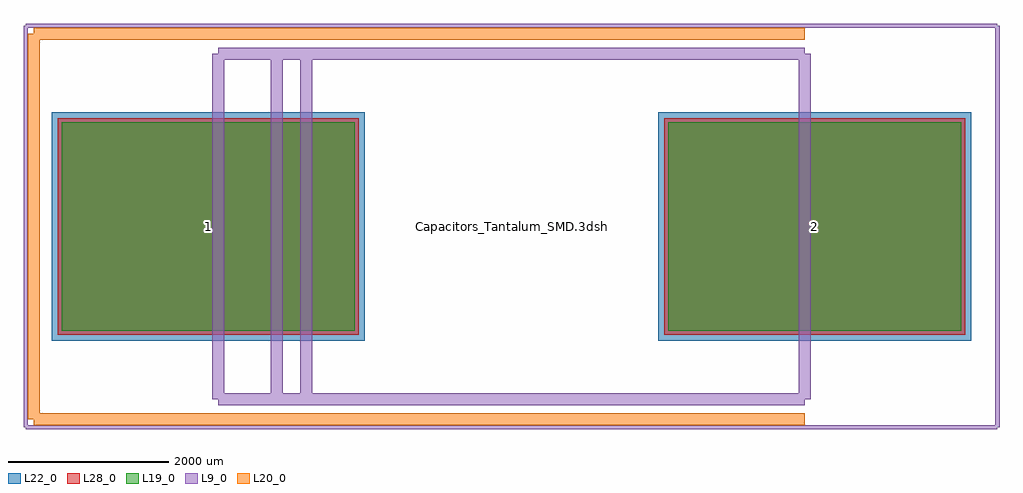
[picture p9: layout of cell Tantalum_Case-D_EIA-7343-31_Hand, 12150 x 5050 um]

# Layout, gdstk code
import gdstk
lib = gdstk.Library(unit=1e-6, precision=1e-09)
def R(c, l, rs):  # rectangles x0, y0, x1, y1
    for r in rs: c.add(gdstk.rectangle(r[:2], r[2:], *l))
L9_0 = (9, 0)
L19_0 = (19, 0)
L20_0 = (20, 0)
L22_0 = (22, 0)
L28_0 = (28, 0)

tantalum_case_d_eia_7343 = lib.new_cell('Tantalum_Case-D_EIA-7343-31_Hand')
R(tantalum_case_d_eia_7343, L19_0, [(-5600,-1300,-1950,1300), (1950,-1300,5600,1300)])
R(tantalum_case_d_eia_7343, L22_0, [(-5725,-1425,-1825,1425), (1825,-1425,5725,1425)])
R(tantalum_case_d_eia_7343, L28_0, [(-5650,-1350,-1900,1350), (1900,-1350,5650,1350)])
tantalum_case_d_eia_7343.add(gdstk.FlexPath([(-5950,2400),(-5950,-2400)], 149.998, ends="flush", simple_path=True, layer=20, datatype=0))  # L20_0
tantalum_case_d_eia_7343.add(gdstk.FlexPath([(-5950,-2400),(3650,-2400)], 149.998, ends="flush", simple_path=True, layer=20, datatype=0))  # L20_0
tantalum_case_d_eia_7343.add(gdstk.FlexPath([(-5950,2400),(3650,2400)], 149.998, ends="flush", simple_path=True, layer=20, datatype=0))  # L20_0
tantalum_case_d_eia_7343.add(gdstk.FlexPath([(-2555,2150),(-2555,-2150)], 149.998, ends="flush", simple_path=True, layer=9, datatype=0))  # L9_0
tantalum_case_d_eia_7343.add(gdstk.FlexPath([(-2920,2150),(-2920,-2150)], 149.998, ends="flush", simple_path=True, layer=9, datatype=0))  # L9_0
tantalum_case_d_eia_7343.add(gdstk.FlexPath([(3650,2150),(-3650,2150)], 149.998, ends="flush", simple_path=True, layer=9, datatype=0))  # L9_0
tantalum_case_d_eia_7343.add(gdstk.FlexPath([(3650,-2150),(3650,2150)], 149.998, ends="flush", simple_path=True, layer=9, datatype=0))  # L9_0
tantalum_case_d_eia_7343.add(gdstk.FlexPath([(-3650,-2150),(3650,-2150)], 149.998, ends="flush", simple_path=True, layer=9, datatype=0))  # L9_0
tantalum_case_d_eia_7343.add(gdstk.FlexPath([(-3650,2150),(-3650,-2150)], 149.998, ends="flush", simple_path=True, layer=9, datatype=0))  # L9_0
tantalum_case_d_eia_7343.add(gdstk.FlexPath([(6050,2500),(-6050,2500)], 50, ends="flush", simple_path=True, layer=9, datatype=0))  # L9_0
tantalum_case_d_eia_7343.add(gdstk.FlexPath([(6050,-2500),(6050,2500)], 50, ends="flush", simple_path=True, layer=9, datatype=0))  # L9_0
tantalum_case_d_eia_7343.add(gdstk.FlexPath([(-6050,-2500),(6050,-2500)], 50, ends="flush", simple_path=True, layer=9, datatype=0))  # L9_0
tantalum_case_d_eia_7343.add(gdstk.FlexPath([(-6050,2500),(-6050,-2500)], 50, ends="flush", simple_path=True, layer=9, datatype=0))  # L9_0
tantalum_case_d_eia_7343.add(gdstk.Label('Capacitors_Tantalum_SMD.3dshapes/Tantalum_Case-D_EIA-7343-31.wrl', (0,0), layer=12, texttype=0))
tantalum_case_d_eia_7343.add(gdstk.Label('2', (3775,0), layer=28, texttype=0))
tantalum_case_d_eia_7343.add(gdstk.Label('1', (-3775,0), layer=28, texttype=0))
tantalum_case_d_eia_7343.add(gdstk.Label('type', (0,-3900), layer=9, texttype=0))
tantalum_case_d_eia_7343.add(gdstk.Label('devicename', (0,3900), layer=9, texttype=0))

lib.write_gds('Tantalum_Case-D_EIA-7343-31_Hand.gds')
